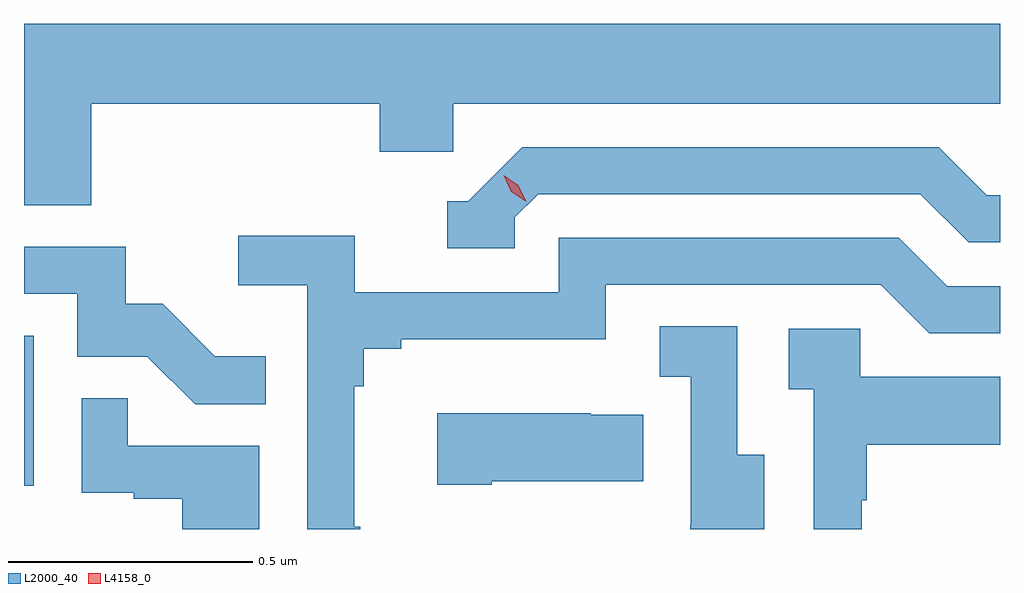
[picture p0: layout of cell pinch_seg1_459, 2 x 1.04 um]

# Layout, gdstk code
import gdstk
lib = gdstk.Library(unit=1e-6, precision=1e-09)
def R(c, l, rs):  # rectangles x0, y0, x1, y1
    for r in rs: c.add(gdstk.rectangle(r[:2], r[2:], *l))
def P(c, l, *ps):  # polygons
    for p in ps: c.add(gdstk.Polygon(p, *l))
L2000_40 = (2000, 40)
L4158_0 = (4158, 0)

pinch_seg1_459 = lib.new_cell('pinch_seg1_459')
R(pinch_seg1_459, L2000_40, [(1009.73,521.645,1009.75,521.953)])
P(pinch_seg1_459, L2000_40, [(1009.868,522.428),(1010.459,522.428),(1010.459,522.33),(1010.61,522.33),(1010.61,522.428),(1011.73,522.428),(1011.73,522.592),(1009.73,522.592),(1009.73,522.22),(1009.868,522.22)],
  [(1010.736,522.195),(1010.784,522.243),(1011.567,522.243),(1011.666,522.144),(1011.73,522.144),(1011.73,522.24),(1011.703,522.24),(1011.604,522.339),(1010.751,522.339),(1010.64,522.228),(1010.597,522.228),(1010.597,522.132),(1010.736,522.132)],
  [(1010.419,521.561),(1010.407,521.561),(1010.407,521.849),(1010.426,521.849),(1010.426,521.926),(1010.503,521.926),(1010.503,521.945),(1010.922,521.945),(1010.922,522.057),(1011.486,522.057),(1011.585,521.958),(1011.73,521.958),(1011.73,522.054),(1011.622,522.054),(1011.523,522.153),(1010.826,522.153),(1010.826,522.042),(1010.408,522.042),(1010.408,522.158),(1010.169,522.158),(1010.169,522.056),(1010.31,522.056),(1010.31,521.556),(1010.419,521.556)],
  [(1010.225,521.911),(1010.121,521.911),(1010.014,522.018),(1009.938,522.018),(1009.938,522.135),(1009.73,522.135),(1009.73,522.039),(1009.839,522.039),(1009.839,521.91),(1009.983,521.91),(1010.081,521.812),(1010.225,521.812)],
  [(1011.247,521.709),(1011.192,521.709),(1011.192,521.972),(1011.033,521.972),(1011.033,521.869),(1011.096,521.869),(1011.096,521.565),(1011.095,521.565),(1011.095,521.556),(1011.247,521.556)],
  [(1011.447,521.615),(1011.457,521.615),(1011.457,521.729),(1011.73,521.729),(1011.73,521.869),(1011.444,521.869),(1011.444,521.967),(1011.297,521.967),(1011.297,521.843),(1011.348,521.843),(1011.348,521.556),(1011.447,521.556)],
  [(1010.212,521.727),(1009.943,521.727),(1009.943,521.825),(1009.848,521.825),(1009.848,521.631),(1009.955,521.631),(1009.955,521.619),(1010.054,521.619),(1010.054,521.556),(1010.212,521.556)],
  [(1010.689,521.654),(1010.999,521.654),(1010.999,521.791),(1010.891,521.791),(1010.891,521.794),(1010.577,521.794),(1010.577,521.647),(1010.689,521.647)])
P(pinch_seg1_459, L4158_0, [(1010.758,522.228),(1010.728,522.248),(1010.713,522.281),(1010.713,522.281),(1010.713,522.281),(1010.743,522.261),(1010.759,522.228),(1010.759,522.228)])

lib.write_gds('pinch_seg1_459.gds')
